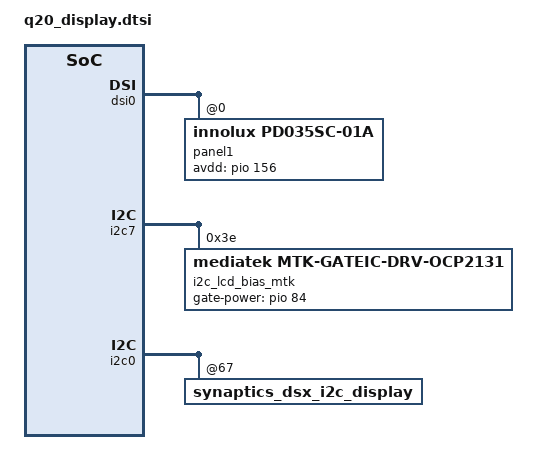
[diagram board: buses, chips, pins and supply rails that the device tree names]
#include "qx0_display.dtsi"

&mtk_leds {
	compatible = "mediatek,i2c-leds";

	backlight {
		max-hw-brightness = <25>;
		led_mode = <6>;
		gate_enable = <0>;
		pwm_config = <0 1 0 0 0>;
	};
};

&dsi0 {
	panel1@0 {
		compatible = "innolux,pd035sc-01a";
		avdd-gpios  = <&pio 156 0>;
		board_name = "q20_v12";
	};
};

&i2c7 {
	i2c_lcd_bias_mtk:i2c_lcd_bias@3e {
		compatible = "mediatek,mtk-gateic-drv-ocp2131";
		reg = <0x3e>;
		id = <6>;
		gate-power-gpios = <&pio 84 0>;
		status = "okay";
	};
};

&i2c0 {
	synaptics_dsx_i2c_display@67 {
		synaptics,reset-delay-ms = <200>;
		synaptics,reset-active-ms = <20>;
	};
};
